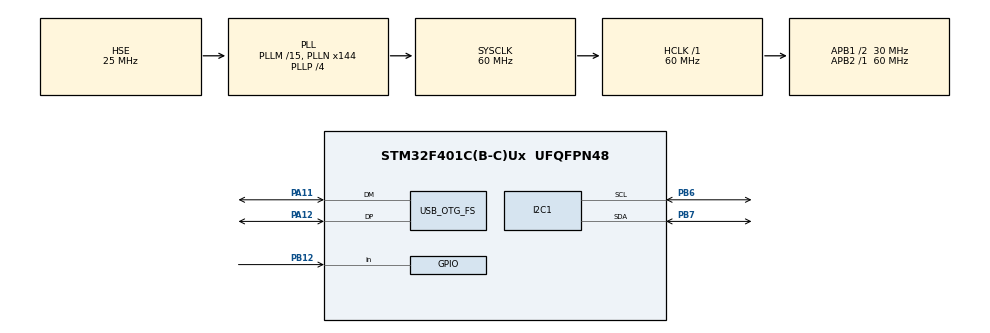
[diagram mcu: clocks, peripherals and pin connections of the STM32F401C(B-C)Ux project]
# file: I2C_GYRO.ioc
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Dma.I2C1_RX.0.Direction=DMA_PERIPH_TO_MEMORY
Dma.I2C1_RX.0.FIFOMode=DMA_FIFOMODE_DISABLE
Dma.I2C1_RX.0.Instance=DMA1_Stream0
Dma.I2C1_RX.0.MemDataAlignment=DMA_MDATAALIGN_BYTE
Dma.I2C1_RX.0.MemInc=DMA_MINC_ENABLE
Dma.I2C1_RX.0.Mode=DMA_NORMAL
Dma.I2C1_RX.0.PeriphDataAlignment=DMA_PDATAALIGN_BYTE
Dma.I2C1_RX.0.PeriphInc=DMA_PINC_DISABLE
Dma.I2C1_RX.0.Priority=DMA_PRIORITY_LOW
Dma.Request0=I2C1_RX
I2C1.I2C_Mode=I2C_Fast
I2C1.OwnAddress=52
Mcu.Family=STM32F4
Mcu.Name=STM32F401C(B-C)Ux
Mcu.Package=UFQFPN48
NVIC.DMA1_Stream0_IRQn=true\:0\:0\:false\:false\:true\:false\:true\:true
NVIC.OTG_FS_IRQn=true\:0\:0\:false\:false\:true\:false\:true\:true
NVIC.PriorityGroup=NVIC_PRIORITYGROUP_4
PA11.Mode=Device_Only
PA11.Signal=USB_OTG_FS_DM
PA12.Mode=Device_Only
PA12.Signal=USB_OTG_FS_DP
PA13.Mode=Serial_Wire
PA13.Signal=SYS_JTMS-SWDIO
PA14.Mode=Serial_Wire
PA14.Signal=SYS_JTCK-SWCLK
PB12.Signal=GPIO_Input
PB6.Mode=I2C
PB6.Signal=I2C1_SCL
PB7.Mode=I2C
PB7.Signal=I2C1_SDA
PH0\ -\ OSC_IN.Mode=HSE-External-Oscillator
PH0\ -\ OSC_IN.Signal=RCC_OSC_IN
PH1\ -\ OSC_OUT.Mode=HSE-External-Oscillator
PH1\ -\ OSC_OUT.Signal=RCC_OSC_OUT
ProjectManager.HeapSize=0x200
ProjectManager.StackSize=0x400
ProjectManager.TargetToolchain=STM32CubeIDE
RCC.48MHZClocksFreq_Value=48000000
RCC.AHBFreq_Value=60000000
RCC.APB1CLKDivider=RCC_HCLK_DIV2
RCC.APB1Freq_Value=30000000
RCC.APB1TimFreq_Value=60000000
RCC.APB2Freq_Value=60000000
RCC.APB2TimFreq_Value=60000000
RCC.CortexFreq_Value=60000000
RCC.HCLKFreq_Value=60000000
RCC.HSE_VALUE=25000000
RCC.HSI_VALUE=16000000
RCC.LSE_VALUE=32768
RCC.PLLM=15
RCC.PLLN=144
RCC.PLLP=RCC_PLLP_DIV4
RCC.PLLQ=5
RCC.SYSCLKFreq_VALUE=60000000
RCC.SYSCLKSource=RCC_SYSCLKSOURCE_PLLCLK
RCC.VCOOutputFreq_Value=240000000
USB_DEVICE.CLASS_NAME_FS=CDC
USB_DEVICE.VirtualMode=Cdc
USB_DEVICE.VirtualModeFS=Cdc_FS
USB_OTG_FS.VirtualMode=Device_Only
VP_USB_DEVICE_VS_USB_DEVICE_CDC_FS.Mode=CDC_FS
board=custom

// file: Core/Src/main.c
/* USER CODE BEGIN Header */
/**
 ******************************************************************************
 * @file           : main.c
 * @brief          : Main program body
 ******************************************************************************
 * @attention
 *
 * Copyright (c) 2025 STMicroelectronics.
 * All rights reserved.
 *
 * This software is licensed under terms that can be found in the LICENSE file
 * in the root directory of this software component.
 * If no LICENSE file comes with this software, it is provided AS-IS.
 *
 ******************************************************************************
 */
/* USER CODE END Header */
#include "main.h"
#include "usb_device.h"

/* USER CODE BEGIN Includes */
#include <stdbool.h>
#include <KalmanRollPitch.h>
#include "MPU6050.h"
#include "I2Cdev.h"
/* USER CODE END Includes */

/* USER CODE BEGIN PD */
#define LPF_GYR_ALPHA 0.01f
#define LPF_ACC_ALPHA 0.10f

#define KALMAN_P_INIT 0.1f
#define KALMAN_Q 0.001f
#define KALMAN_R 0.011f

#define KALMAN_PREDICT_PERIOD_MS 10
#define KALMAN_UPDATE_PERIOD_MS  100

#define USB_PERIOD_MS 250
#define LED_PERIOD_MS 500

#define RAD_TO_DEG 57.2957795131f
#define IMU_INT_Pin 25

/* USER CODE END PD */

I2C_HandleTypeDef hi2c1;
DMA_HandleTypeDef hdma_i2c1_rx;

/* USER CODE BEGIN PV */
uint16_t regAddr = 107;
MPU6050 imu;
/* USER CODE END PV */

void SystemClock_Config(void);
static void MX_GPIO_Init(void);
static void MX_DMA_Init(void);
static void MX_I2C1_Init(void);

/* USER CODE BEGIN 0 */
uint32_t dataCount=0;
int _write(int file, char *ptr, int len) {
	uint8_t status;
	status = CDC_Transmit_FS((uint8_t*) ptr, len);
	return len;
}

void HAL_GPIO_EXTI_Callback(uint16_t GPIO_Pin ){
	/* Check if interrupt pin has fired for IMU */
	if( GPIO_Pin == IMU_INT_Pin ){

	imu.dataReadyFlag = 1;
	dataCount++;
	}
}

/* DMA RECEPTION COMPELTE HANDLER*/
void HAL_I2C_MemRxCpltCallback(I2C_HandleTypeDef * hi2c){

	if ( hi2c->Instance == hi2c1. Instance ) {

	imu.rxFlag = 0;
	MPU6050_Process_Data(&imu);
    }
}
/* USER CODE END 0 */

int main(void)
{

  /* USER CODE BEGIN 1 */
	uint8_t w = 10;
	uint8_t read;
	HAL_StatusTypeDef stat;
	KalmanRollPitch ekf;

  /* USER CODE END 1 */

  /* MCU Configuration--------------------------------------------------------*/

  /* Reset of all peripherals, Initializes the Flash interface and the Systick. */
  HAL_Init();

  /* Configure the system clock */
  SystemClock_Config();

  /* Initialize all configured peripherals */
  MX_GPIO_Init();
  MX_DMA_Init();
  MX_I2C1_Init();
  MX_USB_DEVICE_Init();
  /* USER CODE BEGIN 2 */
  //Initialize MPU6050
  MPU6050_Init(&imu,&hi2c1);

  /*Initialize Kalman filter*/
  float KalmanQ[2]={KALMAN_Q,KALMAN_Q};
  float KalmanR[3]={KALMAN_R,KALMAN_R,KALMAN_R};
  KalmanRollPitch_Init(&ekf, KALMAN_P_INIT, KalmanQ, KalmanR);
  /*Initialize timers*/
  uint32_t timerKalmanPredict = 0;
  uint32_t timerKalmanUpdate = 0;

  uint32_t timerUSB = 0;
  uint32_t timerLED = 0;

  float gyrPrev[3]={0.0f,0.0f,0.0f};
  float accPrev[3]={0.0f,0.0f,0.0f};

//  printf("Initialization done");
//  printf("\n starting..");
//  // Go through all possible i2c addresses
	HAL_Delay(3000);
	for (uint8_t(i) = 0; i < 128; i++) {
//
		if (HAL_I2C_IsDeviceReady(&hi2c1, (uint16_t) (i << 1), 3, 500)== HAL_OK) {
//  		  // We got an ack
			printf("The address is (%d) \n", i);
			HAL_Delay(500);
		} else {
			printf("-- ");
		}
		if (i > 0 && (i + 1) % 16 == 0)
			(printf("\n"));
//
//
	}

  /* USER CODE END 2 */

  /* Infinite loop */
	while (1) {

    /* USER CODE BEGIN 3 */

		/* Check if data is ready and DMA transfer is not currently in progress */
		if ( imu.dataReadyFlag && !imu.rxFlag ) {

		/* Filter IMU data */
		imu.gyr_rps[0] = LPF_GYR_ALPHA * gyrPrev[0] + (1.0f - LPF_GYR_ALPHA) * imu.gyr_rps[0];
		imu.gyr_rps[1] = LPF_GYR_ALPHA * gyrPrev[1] + (1.0f - LPF_GYR_ALPHA) * imu.gyr_rps[1];
		imu.gyr_rps[2] = LPF_GYR_ALPHA * gyrPrev[2] + (1.0f - LPF_GYR_ALPHA) * imu.gyr_rps[2];

		imu.acc_mps2[0] = LPF_ACC_ALPHA * accPrev[0] + (1.0f - LPF_ACC_ALPHA) * imu.acc_mps2[0];
		imu.acc_mps2[1] = LPF_ACC_ALPHA * accPrev[1] + (1.0f - LPF_ACC_ALPHA) * imu.acc_mps2[1];
		imu.acc_mps2[2] = LPF_ACC_ALPHA * accPrev[2] + (1.0f - LPF_ACC_ALPHA) * imu.acc_mps2[2];

		/* Initiate new DMA transfer */
		MPU6050_Read_DMA(&imu);
		}

		/* Check if time for Kalman filter prediction step (gyro data available) */
		if ( (HAL_GetTick() - timerKalmanPredict) >= KALMAN_PREDICT_PERIOD_MS ) {

		KalmanRollPitch_Predict(&ekf, imu.gyr_rps, 0.001f *KALMAN_PREDICT_PERIOD_MS);

		timerKalmanPredict += KALMAN_PREDICT_PERIOD_MS;
		}

		/* Check if time for Kalman filter update step (accelerometer data available) */
		if ( (HAL_GetTick() - timerKalmanUpdate) >= KALMAN_UPDATE_PERIOD_MS ) {

		KalmanRollPitch_Update(&ekf, imu.acc_mps2);

		timerKalmanUpdate += KALMAN_UPDATE_PERIOD_MS;
		}

		/* USB data stream */
		if ( (HAL_GetTick() - timerUSB) >= USB_PERIOD_MS ) {
		uint8_t usbBuf[64];
		uint8_t usbBuflen = snprintf(usbBuf, 64, "%.2f,%.2f\r\n", ekf.phi * RAD_TO_DEG, ekf.theta * RAD_TO_DEG);
		CDC_Transmit_FS(usbBuf, usbBuflen);
		timerUSB += USB_PERIOD_MS;
		}

		/* Toggle LED */
		if ( (HAL_GetTick() - timerLED) >= LED_PERIOD_MS ) {
		HAL_GPIO_TogglePin(GPIOC, GPIO_PIN_13);
		timerLED += LED_PERIOD_MS;
		}

/*
		if(writeByte(208, 107, t5)==true){
			printf("sucessful write to register 107, data 10 written\n");
		}

		if (HAL_I2C_Mem_Read(&hi2c1, 208, 107, 1, &read, 1, 1000) == HAL_OK) {
			printf("(%d). Register 107 of MPU6050 is (%d)\n", i, read);
		}
		//	HAL_Delay(250);
		//writeBits(208, MPU6050_RA_PWR_MGMT_1, MPU6050_PWR1_CLKSEL_BIT, MPU6050_PWR1_CLKSEL_LENGTH, MPU6050_CLOCK_PLL_XGYRO);
		if (readByte(208, 107, &o_byte, 1000) == 1) {
			i++;
			if (i == 100) {
				i = 0;
			}

		}
		if(HAL_I2C_Mem_Write(&hi2c1, 208, 35, 1, &w_byte, 1, 1000)==HAL_OK){
			printf("FIFO_En buffer enabled]\n");
		}
		if(writeBit(208, 106, 2, 1)==true){
			fif=getFIFOCount();
			printf("WRITE BIT FUNCTION SUCCESSFUL, fifo count %d \n",fif);
		}
		if(HAL_I2C_Mem_Read(&hi2c1, 208, 106, 1, &usr_ctrl, 1, 1000)==HAL_OK){
			printf("Current value of user control register is %d",user_control);
		}
		HAL_Delay(250);
*/

  /* USER CODE END 3 */
}
	}/**
  * @brief System Clock Configuration
  * @retval None
  */
void SystemClock_Config(void)
{
  RCC_OscInitTypeDef RCC_OscInitStruct = {0};
  RCC_ClkInitTypeDef RCC_ClkInitStruct = {0};

  /** Configure the main internal regulator output voltage
  */
  __HAL_RCC_PWR_CLK_ENABLE();
  __HAL_PWR_VOLTAGESCALING_CONFIG(PWR_REGULATOR_VOLTAGE_SCALE2);

  /** Initializes the RCC Oscillators according to the specified parameters
  * in the RCC_OscInitTypeDef structure.
  */
  RCC_OscInitStruct.OscillatorType = RCC_OSCILLATORTYPE_HSE;
  RCC_OscInitStruct.HSEState = RCC_HSE_ON;
  RCC_OscInitStruct.PLL.PLLState = RCC_PLL_ON;
  RCC_OscInitStruct.PLL.PLLSource = RCC_PLLSOURCE_HSE;
  RCC_OscInitStruct.PLL.PLLM = 15;
  RCC_OscInitStruct.PLL.PLLN = 144;
  RCC_OscInitStruct.PLL.PLLP = RCC_PLLP_DIV4;
  RCC_OscInitStruct.PLL.PLLQ = 5;
  if (HAL_RCC_OscConfig(&RCC_OscInitStruct) != HAL_OK)
  {
    Error_Handler();
  }

  /** Initializes the CPU, AHB and APB buses clocks
  */
  RCC_ClkInitStruct.ClockType = RCC_CLOCKTYPE_HCLK|RCC_CLOCKTYPE_SYSCLK
                              |RCC_CLOCKTYPE_PCLK1|RCC_CLOCKTYPE_PCLK2;
  RCC_ClkInitStruct.SYSCLKSource = RCC_SYSCLKSOURCE_PLLCLK;
  RCC_ClkInitStruct.AHBCLKDivider = RCC_SYSCLK_DIV1;
  RCC_ClkInitStruct.APB1CLKDivider = RCC_HCLK_DIV2;
  RCC_ClkInitStruct.APB2CLKDivider = RCC_HCLK_DIV1;

  if (HAL_RCC_ClockConfig(&RCC_ClkInitStruct, FLASH_LATENCY_1) != HAL_OK)
  {
    Error_Handler();
  }
}

static void MX_I2C1_Init(void)
{

  hi2c1.Instance = I2C1;
  hi2c1.Init.ClockSpeed = 400000;
  hi2c1.Init.DutyCycle = I2C_DUTYCYCLE_2;
  hi2c1.Init.OwnAddress1 = 104;
  hi2c1.Init.AddressingMode = I2C_ADDRESSINGMODE_7BIT;
  hi2c1.Init.DualAddressMode = I2C_DUALADDRESS_DISABLE;
  hi2c1.Init.OwnAddress2 = 0;
  hi2c1.Init.GeneralCallMode = I2C_GENERALCALL_DISABLE;
  hi2c1.Init.NoStretchMode = I2C_NOSTRETCH_DISABLE;
  if (HAL_I2C_Init(&hi2c1) != HAL_OK)
  {
    Error_Handler();
  }

}

static void MX_DMA_Init(void)
{

  /* DMA controller clock enable */
  __HAL_RCC_DMA1_CLK_ENABLE();

  /* DMA interrupt init */
  /* DMA1_Stream0_IRQn interrupt configuration */
  HAL_NVIC_SetPriority(DMA1_Stream0_IRQn, 0, 0);
  HAL_NVIC_EnableIRQ(DMA1_Stream0_IRQn);

}

static void MX_GPIO_Init(void)
{
  GPIO_InitTypeDef GPIO_InitStruct = {0};

  /* GPIO Ports Clock Enable */
  __HAL_RCC_GPIOH_CLK_ENABLE();
  __HAL_RCC_GPIOB_CLK_ENABLE();
  __HAL_RCC_GPIOA_CLK_ENABLE();

  /*Configure GPIO pin : PB12 */
  GPIO_InitStruct.Pin = GPIO_PIN_12;
  GPIO_InitStruct.Mode = GPIO_MODE_INPUT;
  GPIO_InitStruct.Pull = GPIO_NOPULL;
  HAL_GPIO_Init(GPIOB, &GPIO_InitStruct);

}

void Error_Handler(void)
{
	__disable_irq();
	while (1) {
	}
}
